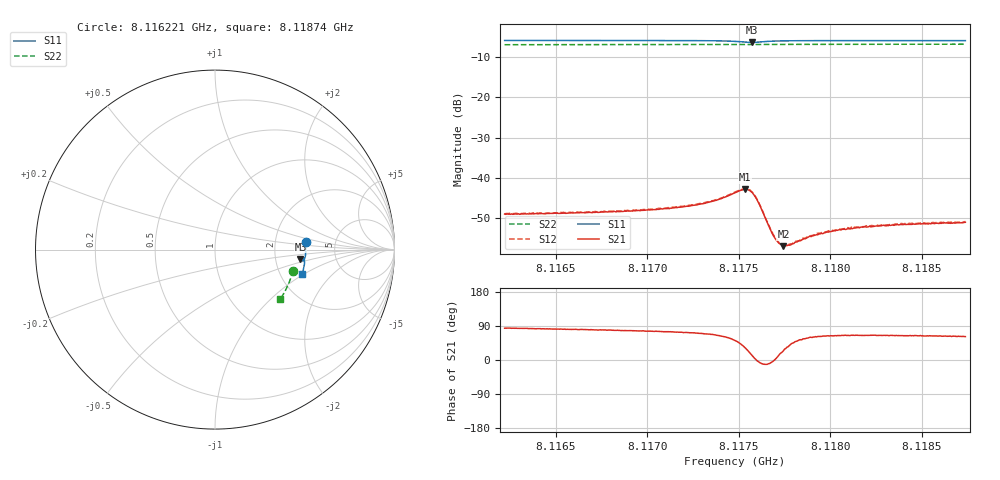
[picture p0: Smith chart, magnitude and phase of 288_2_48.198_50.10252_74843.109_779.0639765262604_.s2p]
#  HZ  S  RI  R  50.00
! Rohde & Schwarz Vector Network Analyzer
! Rohde-Schwarz,ZNB20-2Port,1311601062101988,3.16
! Created: UTC 3/20/2024, 11:48:57 AM
! freq[Hz]  re:S11  im:S11  re:S21  im:S21  re:S12  im:S12  re:S22  im:S22
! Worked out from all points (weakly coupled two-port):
!   401 points, 8.116221 GHz to 8.11874 GHz, reference 50 ohm
!   highest |S21| = -42.86 dB at 8.117537 GHz (marker M1); lowest = -57.0 dB at 8.117745 GHz (marker M2)
!   lowest |S11| = -6.4 dB at 8.117575 GHz (marker M3), VSWR 2.84, Z = 139 - j18.8 ohm
!   |S11| at or under -10 dB: nowhere
!   |S22| runs from -7.0 to -6.8 dB; largest |S21 - S12| = 0.00019
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8.1162212e9  0.5054 0.0417  0.000377 0.00352  0.000432 0.00356  0.4335 -0.1166
8.1166431e9  0.5063 0.00982  0.000595 0.00364  0.000683 0.00369  0.4262 -0.145
8.1170649e9  0.505 -0.0231  0.00102 0.00393  0.00108 0.00404  0.417 -0.1729
8.1171971e9  0.5036 -0.034  0.00132 0.00416  0.00133 0.00422  0.4137 -0.1817
8.1173042e9  0.5019 -0.0436  0.00165 0.00449  0.00169 0.00453  0.4107 -0.1886
8.117386e9  0.499 -0.0517  0.00226 0.00484  0.00235 0.00487  0.4084 -0.1939
8.1174805e9  0.4904 -0.0612  0.00404 0.00512  0.00416 0.00517  0.4053 -0.1999
8.1175371e9  0.4797 -0.0605  0.00613 0.00377  0.00628 0.0038  0.4033 -0.2033
8.117556e9  0.4768 -0.0568  0.00653 0.0026  0.00668 0.00257  0.4027 -0.204
8.1175749e9  0.4763 -0.0521  0.00643 0.00127  0.00654 0.0012  0.4023 -0.2051
8.1176064e9  0.4813 -0.0461  0.00503 -0.000339  0.00513 -0.000397  0.4017 -0.2067
8.117663e9  0.4921 -0.048  0.00255 -0.000445  0.00258 -0.000472  0.4006 -0.2104
8.1176945e9  0.4953 -0.0519  0.00185 -2.92e-05  0.00189 -1.94e-05  0.3997 -0.2122
8.1177197e9  0.4969 -0.0551  0.00151 0.00033  0.00155 0.000316  0.399 -0.214
8.1177449e9  0.4977 -0.058  0.00129 0.000582  0.00131 0.000595  0.3984 -0.2157
8.117789e9  0.4988 -0.0629  0.00109 0.00102  0.0011 0.00102  0.3968 -0.2186
8.1179023e9  0.4986 -0.074  0.00097 0.00164  0.000967 0.00164  0.3934 -0.2257
8.1179967e9  0.4979 -0.0822  0.000965 0.00192  0.000948 0.00197  0.3904 -0.2316
8.1181038e9  0.4965 -0.0909  0.000993 0.00211  0.00102 0.00215  0.3866 -0.2383
8.1181793e9  0.4955 -0.0968  0.00104 0.00221  0.00106 0.00224  0.3841 -0.2429
8.1183241e9  0.4931 -0.108  0.00112 0.00232  0.00113 0.00238  0.3789 -0.2516
8.1187397e9  0.4853 -0.1384  0.00133 0.00247  0.00136 0.00253  0.3629 -0.2761
